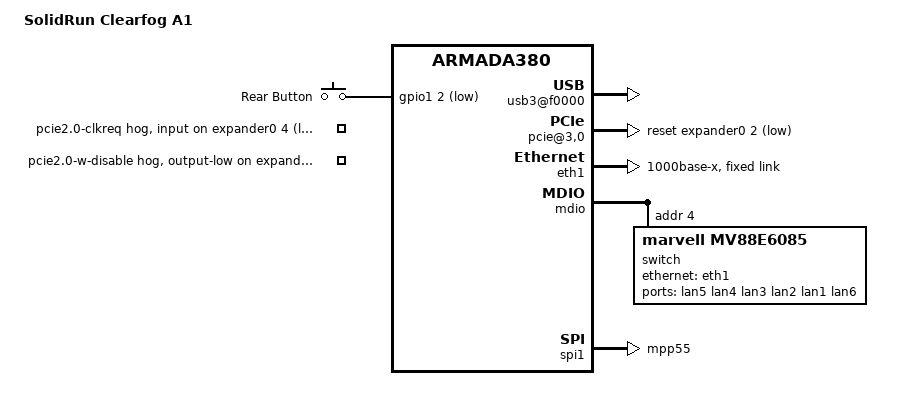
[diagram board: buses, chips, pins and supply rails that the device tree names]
// SPDX-License-Identifier: (GPL-2.0 OR MIT)
/*
 * Device Tree file for SolidRun Clearfog Pro revision A1 rev 2.0 (88F6828)
 *
 *  Copyright (C) 2015 Russell King
 */

/dts-v1/;
#include "armada-388-clearfog.dtsi"

/ {
	model = "SolidRun Clearfog A1";
	compatible = "solidrun,clearfog-a1", "marvell,armada388",
		"marvell,armada385", "marvell,armada380";

	soc {
		internal-regs {
			usb3@f0000 {
				/* CON2, nearest CPU, USB2 only. */
				status = "okay";
			};
		};

		pcie {
			pcie@3,0 {
				/* Port 2, Lane 0. CON2, nearest CPU. */
				reset-gpios = <&expander0 2 GPIO_ACTIVE_LOW>;
				status = "okay";
			};
		};
	};

	gpio-keys {
		compatible = "gpio-keys";
		pinctrl-0 = <&rear_button_pins>;
		pinctrl-names = "default";

		button-0 {
			/* The rear SW3 button */
			label = "Rear Button";
			gpios = <&gpio1 2 GPIO_ACTIVE_LOW>;
			linux,can-disable;
			linux,code = <BTN_0>;
		};
	};
};

&eth1 {
	/* ethernet@30000 */
	phy-mode = "1000base-x";

	fixed-link {
		speed = <1000>;
		full-duplex;
	};
};

&expander0 {
	/*
	 * PCA9655 GPIO expander:
	 *  0-CON3 CLKREQ#
	 *  1-CON3 PERST#
	 *  2-CON2 PERST#
	 *  3-CON3 W_DISABLE
	 *  4-CON2 CLKREQ#
	 *  5-USB3 overcurrent
	 *  6-USB3 power
	 *  7-CON2 W_DISABLE
	 *  8-JP4 P1
	 *  9-JP4 P4
	 * 10-JP4 P5
	 * 11-m.2 DEVSLP
	 * 12-SFP_LOS
	 * 13-SFP_TX_FAULT
	 * 14-SFP_TX_DISABLE
	 * 15-SFP_MOD_DEF0
	 */
	pcie2-0-clkreq-hog {
		gpio-hog;
		gpios = <4 GPIO_ACTIVE_LOW>;
		input;
		line-name = "pcie2.0-clkreq";
	};
	pcie2-0-w-disable-hog {
		gpio-hog;
		gpios = <7 GPIO_ACTIVE_LOW>;
		output-low;
		line-name = "pcie2.0-w-disable";
	};
};

&mdio {
	status = "okay";

	switch@4 {
		compatible = "marvell,mv88e6085";
		#address-cells = <1>;
		#size-cells = <0>;
		reg = <4>;
		pinctrl-0 = <&clearfog_dsa0_clk_pins &clearfog_dsa0_pins>;
		pinctrl-names = "default";

		ports {
			#address-cells = <1>;
			#size-cells = <0>;

			port@0 {
				reg = <0>;
				label = "lan5";
			};

			port@1 {
				reg = <1>;
				label = "lan4";
			};

			port@2 {
				reg = <2>;
				label = "lan3";
			};

			port@3 {
				reg = <3>;
				label = "lan2";
			};

			port@4 {
				reg = <4>;
				label = "lan1";
			};

			port@5 {
				reg = <5>;
				ethernet = <&eth1>;
				phy-mode = "1000base-x";

				fixed-link {
					speed = <1000>;
					full-duplex;
				};
			};

			port@6 {
				/* 88E1512 external phy */
				reg = <6>;
				label = "lan6";
				phy-mode = "rgmii-id";

				fixed-link {
					speed = <1000>;
					full-duplex;
				};
			};
		};
	};
};

&pinctrl {
	clearfog_dsa0_clk_pins: clearfog-dsa0-clk-pins {
		marvell,pins = "mpp46";
		marvell,function = "ref";
	};
	clearfog_dsa0_pins: clearfog-dsa0-pins {
		marvell,pins = "mpp23", "mpp41";
		marvell,function = "gpio";
	};
	clearfog_spi1_cs_pins: spi1-cs-pins {
		marvell,pins = "mpp55";
		marvell,function = "spi1";
	};
	rear_button_pins: rear-button-pins {
		marvell,pins = "mpp34";
		marvell,function = "gpio";
	};
};

&spi1 {
	/*
	 * Add SPI CS pins for clearfog:
	 * CS0: W25Q32
	 * CS1:
	 * CS2: mikrobus
	 */
	pinctrl-0 = <&spi1_pins &clearfog_spi1_cs_pins &mikro_spi_pins>;
};
